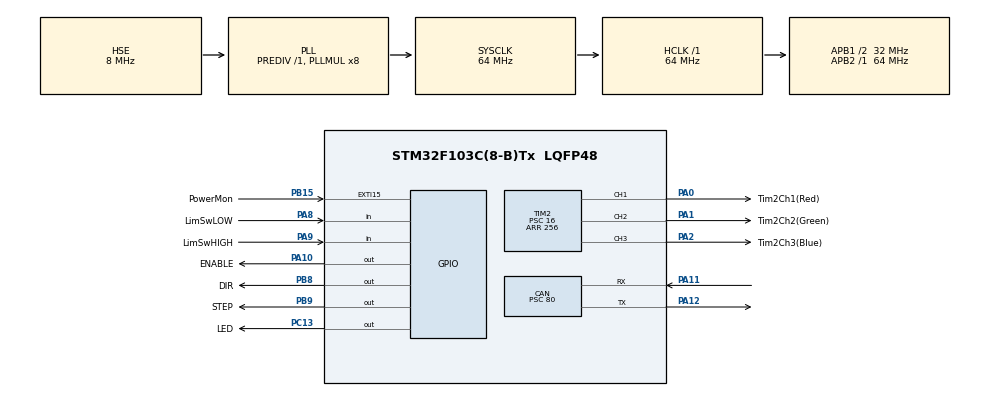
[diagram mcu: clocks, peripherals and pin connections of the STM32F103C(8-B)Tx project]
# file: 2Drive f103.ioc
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CAN.BS1=CAN_BS1_13TQ
CAN.BS2=CAN_BS2_2TQ
CAN.CalculateTimeBit=40000
CAN.CalculateTimeQuantum=2500.0
CAN.Prescaler=80
CAN.SJW=CAN_SJW_2TQ
Mcu.Family=STM32F1
Mcu.Name=STM32F103C(8-B)Tx
Mcu.Package=LQFP48
NVIC.CAN1_RX1_IRQn=true\:0\:0\:false\:false\:true\:true\:true
NVIC.CAN1_SCE_IRQn=true\:0\:0\:false\:false\:true\:true\:true
NVIC.EXTI15_10_IRQn=true\:0\:0\:false\:false\:true\:true\:true
NVIC.PriorityGroup=NVIC_PRIORITYGROUP_4
NVIC.USB_HP_CAN1_TX_IRQn=true\:0\:0\:false\:false\:true\:true\:true
NVIC.USB_LP_CAN1_RX0_IRQn=true\:0\:0\:false\:false\:true\:true\:true
PA0-WKUP.GPIO_Label=Tim2Ch1(Red)
PA0-WKUP.Signal=S_TIM2_CH1_ETR
PA1.GPIO_Label=Tim2Ch2(Green)
PA1.Signal=S_TIM2_CH2
PA10.GPIO_Label=ENABLE
PA10.GPIO_PuPd=GPIO_PULLUP
PA10.Signal=GPIO_Output
PA11.Mode=Master
PA11.Signal=CAN_RX
PA12.Mode=Master
PA12.Signal=CAN_TX
PA13.Mode=Serial_Wire
PA13.Signal=SYS_JTMS-SWDIO
PA14.Mode=Serial_Wire
PA14.Signal=SYS_JTCK-SWCLK
PA2.GPIO_Label=Tim2Ch3(Blue)
PA2.Signal=S_TIM2_CH3
PA8.GPIO_Label=LimSwLOW
PA8.GPIO_PuPd=GPIO_PULLDOWN
PA8.Signal=GPIO_Input
PA9.GPIO_Label=LimSwHIGH
PA9.GPIO_PuPd=GPIO_PULLDOWN
PA9.Signal=GPIO_Input
PB15.GPIO_Label=PowerMon
PB15.GPIO_ModeDefaultEXTI=GPIO_MODE_IT_FALLING
PB15.GPIO_PuPd=GPIO_PULLDOWN
PB15.Signal=GPXTI15
PB8.GPIO_Label=DIR
PB8.GPIO_PuPd=GPIO_PULLDOWN
PB8.Signal=GPIO_Output
PB9.GPIO_Label=STEP
PB9.GPIO_PuPd=GPIO_PULLDOWN
PB9.Signal=GPIO_Output
PC13-TAMPER-RTC.GPIO_Label=LED
PC13-TAMPER-RTC.GPIO_PuPd=GPIO_PULLDOWN
PC13-TAMPER-RTC.Signal=GPIO_Output
PD0-OSC_IN.Mode=HSE-External-Oscillator
PD0-OSC_IN.Signal=RCC_OSC_IN
PD1-OSC_OUT.Mode=HSE-External-Oscillator
PD1-OSC_OUT.Signal=RCC_OSC_OUT
ProjectManager.HeapSize=0x200
ProjectManager.StackSize=0x400
ProjectManager.TargetToolchain=MDK-ARM V5.27
RCC.AHBFreq_Value=64000000
RCC.APB1CLKDivider=RCC_HCLK_DIV2
RCC.APB1Freq_Value=32000000
RCC.APB1TimFreq_Value=64000000
RCC.APB2Freq_Value=64000000
RCC.APB2TimFreq_Value=64000000
RCC.HCLKFreq_Value=64000000
RCC.PLLMUL=RCC_PLL_MUL8
RCC.PLLSourceVirtual=RCC_PLLSOURCE_HSE
RCC.SYSCLKFreq_VALUE=64000000
RCC.SYSCLKSource=RCC_SYSCLKSOURCE_PLLCLK
RCC.USBFreq_Value=64000000
SH.S_TIM2_CH1_ETR.0=TIM2_CH1,PWM Generation1 CH1
SH.S_TIM2_CH2.0=TIM2_CH2,PWM Generation2 CH2
SH.S_TIM2_CH3.0=TIM2_CH3,PWM Generation3 CH3
TIM2.Channel-PWM\ Generation1\ CH1=TIM_CHANNEL_1
TIM2.Channel-PWM\ Generation2\ CH2=TIM_CHANNEL_2
TIM2.Channel-PWM\ Generation3\ CH3=TIM_CHANNEL_3
TIM2.Period=256
TIM2.Prescaler=16
VP_TIM2_VS_ClockSourceINT.Mode=Internal
board=custom

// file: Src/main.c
/* USER CODE BEGIN Header */
/**
  ******************************************************************************
  * @file           : main.c
  * @brief          : Main program body
  ******************************************************************************
  * @attention
  *
  * <h2><center>&copy; Copyright (c) 2020 STMicroelectronics.
  * All rights reserved.</center></h2>
  *
  * This software component is licensed by ST under BSD 3-Clause license,
  * the "License"; You may not use this file except in compliance with the
  * License. You may obtain a copy of the License at:
  *                        opensource.org/licenses/BSD-3-Clause
  *
  ******************************************************************************
  */
/* USER CODE END Header */

#include "main.h"

CAN_HandleTypeDef hcan;

TIM_HandleTypeDef htim2;

void SystemClock_Config(void);
static void MX_GPIO_Init(void);
static void MX_CAN_Init(void);
static void MX_TIM2_Init(void);
/* USER CODE BEGIN PFP */

CAN_TxHeaderTypeDef   TxHeader;
CAN_RxHeaderTypeDef   RxHeader;

uint32_t              TxMailbox;
uint8_t        		  	CANRxData[8];
volatile uint16_t 							RxFlags = 0;
uint32_t							MaxGoal =0;

// variables for MotorControl
volatile 	uint32_t Goal = 0; 								// Goal of cart position
	uint32_t Position = 0;   					// position whaere cart located
volatile 	uint32_t MinDelay = 30000;  			// Max Speed (delay between toggles step pin than speed is MAX)
	uint32_t StepDelay = 0;						// delay between steps
volatile 	uint16_t Boost = 10000; 						// 1 = MAX boost 65535 = MIN boost
	uint32_t MinSpeed = 600;	  			// move graphic boost function to left side. Whan value == 0 boost function do not move
	GPIO_PinState  MoveDown = GPIO_PIN_RESET, MoveUp = GPIO_PIN_SET; // Direction for moving Up or Down

/* USER CODE END PFP */

int main(void)
{
  /* USER CODE BEGIN 1 */
	SCB_DEMCR |= CoreDebug_DEMCR_TRCENA_Msk;// ????????? ???????????? DWT
  DWT_CONTROL|= DWT_CTRL_CYCCNTENA_Msk; // ???????? ???????
  DWT_CYCCNT = 0;// ???????? ???????
  /* USER CODE END 1 */

  /* MCU Configuration--------------------------------------------------------*/

  /* Reset of all peripherals, Initializes the Flash interface and the Systick. */
  HAL_Init();

  /* Configure the system clock */
  SystemClock_Config();

  /* Initialize all configured peripherals */
  MX_GPIO_Init();
  MX_CAN_Init();
  MX_TIM2_Init();
  /* USER CODE BEGIN 2 */
//	HAL_GPIO_WritePin(ENABLE_GPIO_Port, ENABLE_Pin, GPIO_PIN_SET); // turn Off drivers
  GPIOC->ODR = 0 << 13;
	HAL_Delay(1000);
	GPIOC->ODR = 1 << 13;

  //section for LED
	HAL_TIM_PWM_Start(&htim2,TIM_CHANNEL_1);
	HAL_TIM_PWM_Start(&htim2,TIM_CHANNEL_2);
	HAL_TIM_PWM_Start(&htim2,TIM_CHANNEL_3);

	TIM2->CCR1 = 255;
	TIM2->CCR2 = 255;
	TIM2->CCR3 = 255;

  /* USER CODE END 2 */

  /* Infinite loop */
  /* USER CODE BEGIN WHILE */
  while (1)
  {
		RxAnswerFunction();
		MotorControl();
		SpeedColibration();
		CalobrationDistance ();
		//LimSwChack ();

    /* USER CODE END WHILE */

    /* USER CODE BEGIN 3 */

			// FUNCTION EMERGENCY STOP /////////////////////////////////

			if ( (RxFlags & (uint16_t)1<<7) == (uint16_t)1<<7)
			{
			//--------------------------------
			// HERE MUST BE writing in FLAH

			while(1)
				{
					HAL_Delay(100);
					HAL_GPIO_TogglePin(LED_GPIO_Port,LED_Pin);
				}
			}
  }
  /* USER CODE END 3 */
}

void SystemClock_Config(void)
{
  RCC_OscInitTypeDef RCC_OscInitStruct = {0};
  RCC_ClkInitTypeDef RCC_ClkInitStruct = {0};

  /** Initializes the CPU, AHB and APB busses clocks
  */
  RCC_OscInitStruct.OscillatorType = RCC_OSCILLATORTYPE_HSE;
  RCC_OscInitStruct.HSEState = RCC_HSE_ON;
  RCC_OscInitStruct.HSEPredivValue = RCC_HSE_PREDIV_DIV1;
  RCC_OscInitStruct.HSIState = RCC_HSI_ON;
  RCC_OscInitStruct.PLL.PLLState = RCC_PLL_ON;
  RCC_OscInitStruct.PLL.PLLSource = RCC_PLLSOURCE_HSE;
  RCC_OscInitStruct.PLL.PLLMUL = RCC_PLL_MUL8;
  if (HAL_RCC_OscConfig(&RCC_OscInitStruct) != HAL_OK)
  {
    Error_Handler();
  }
  /** Initializes the CPU, AHB and APB busses clocks
  */
  RCC_ClkInitStruct.ClockType = RCC_CLOCKTYPE_HCLK|RCC_CLOCKTYPE_SYSCLK
                              |RCC_CLOCKTYPE_PCLK1|RCC_CLOCKTYPE_PCLK2;
  RCC_ClkInitStruct.SYSCLKSource = RCC_SYSCLKSOURCE_PLLCLK;
  RCC_ClkInitStruct.AHBCLKDivider = RCC_SYSCLK_DIV1;
  RCC_ClkInitStruct.APB1CLKDivider = RCC_HCLK_DIV2;
  RCC_ClkInitStruct.APB2CLKDivider = RCC_HCLK_DIV1;

  if (HAL_RCC_ClockConfig(&RCC_ClkInitStruct, FLASH_LATENCY_2) != HAL_OK)
  {
    Error_Handler();
  }
}

static void MX_CAN_Init(void)
{

  hcan.Instance = CAN1;
  hcan.Init.Prescaler = 80;
  hcan.Init.Mode = CAN_MODE_NORMAL;
  hcan.Init.SyncJumpWidth = CAN_SJW_2TQ;
  hcan.Init.TimeSeg1 = CAN_BS1_13TQ;
  hcan.Init.TimeSeg2 = CAN_BS2_2TQ;
  hcan.Init.TimeTriggeredMode = DISABLE;
  hcan.Init.AutoBusOff = DISABLE;
  hcan.Init.AutoWakeUp = DISABLE;
  hcan.Init.AutoRetransmission = DISABLE;
  hcan.Init.ReceiveFifoLocked = DISABLE;
  hcan.Init.TransmitFifoPriority = DISABLE;
  if (HAL_CAN_Init(&hcan) != HAL_OK)
  {
    Error_Handler();
  }
  /* USER CODE BEGIN CAN_Init 2 */
CAN_FilterTypeDef  sFilterConfig;

  sFilterConfig.FilterBank = 0;
  sFilterConfig.FilterMode = CAN_FILTERMODE_IDMASK;
  sFilterConfig.FilterScale = CAN_FILTERSCALE_16BIT;
  sFilterConfig.FilterIdHigh = 0x0200  << 5;
  sFilterConfig.FilterIdLow = 0x0000;
  sFilterConfig.FilterMaskIdHigh = 0x0F00 << 5;
  sFilterConfig.FilterMaskIdLow = 0xFFFF;
  sFilterConfig.FilterFIFOAssignment = CAN_RX_FIFO0;
  sFilterConfig.FilterActivation = ENABLE;
  sFilterConfig.SlaveStartFilterBank = 14;

  if (HAL_CAN_ConfigFilter(&hcan, &sFilterConfig) != HAL_OK)
  {
    /* Filter configuration Error */
    Error_Handler();
  }

  /* Start the CAN peripheral */
  if (HAL_CAN_Start(&hcan) != HAL_OK)
  {
    /* Start Error */
    Error_Handler();
  }

  /* Activate CAN RX notification */
  if (HAL_CAN_ActivateNotification(&hcan, CAN_IT_RX_FIFO0_MSG_PENDING) != HAL_OK)
  {
    /* Notification Error */
    Error_Handler();
  }

  /* Configure Transmission process */
	TxHeader.StdId = 0x0700;
  TxHeader.RTR = CAN_RTR_DATA;
  TxHeader.IDE = CAN_ID_STD;
  TxHeader.DLC = 8;
  TxHeader.TransmitGlobalTime = DISABLE;
  /* USER CODE END CAN_Init 2 */

}

static void MX_TIM2_Init(void)
{

  TIM_ClockConfigTypeDef sClockSourceConfig = {0};
  TIM_MasterConfigTypeDef sMasterConfig = {0};
  TIM_OC_InitTypeDef sConfigOC = {0};

  htim2.Instance = TIM2;
  htim2.Init.Prescaler = 16;
  htim2.Init.CounterMode = TIM_COUNTERMODE_UP;
  htim2.Init.Period = 256;
  htim2.Init.ClockDivision = TIM_CLOCKDIVISION_DIV1;
  htim2.Init.AutoReloadPreload = TIM_AUTORELOAD_PRELOAD_DISABLE;
  if (HAL_TIM_Base_Init(&htim2) != HAL_OK)
  {
    Error_Handler();
  }
  sClockSourceConfig.ClockSource = TIM_CLOCKSOURCE_INTERNAL;
  if (HAL_TIM_ConfigClockSource(&htim2, &sClockSourceConfig) != HAL_OK)
  {
    Error_Handler();
  }
  if (HAL_TIM_PWM_Init(&htim2) != HAL_OK)
  {
    Error_Handler();
  }
  sMasterConfig.MasterOutputTrigger = TIM_TRGO_RESET;
  sMasterConfig.MasterSlaveMode = TIM_MASTERSLAVEMODE_DISABLE;
  if (HAL_TIMEx_MasterConfigSynchronization(&htim2, &sMasterConfig) != HAL_OK)
  {
    Error_Handler();
  }
  sConfigOC.OCMode = TIM_OCMODE_PWM1;
  sConfigOC.Pulse = 0;
  sConfigOC.OCPolarity = TIM_OCPOLARITY_HIGH;
  sConfigOC.OCFastMode = TIM_OCFAST_DISABLE;
  if (HAL_TIM_PWM_ConfigChannel(&htim2, &sConfigOC, TIM_CHANNEL_1) != HAL_OK)
  {
    Error_Handler();
  }
  if (HAL_TIM_PWM_ConfigChannel(&htim2, &sConfigOC, TIM_CHANNEL_2) != HAL_OK)
  {
    Error_Handler();
  }
  if (HAL_TIM_PWM_ConfigChannel(&htim2, &sConfigOC, TIM_CHANNEL_3) != HAL_OK)
  {
    Error_Handler();
  }
  HAL_TIM_MspPostInit(&htim2);

}

static void MX_GPIO_Init(void)
{
  GPIO_InitTypeDef GPIO_InitStruct = {0};

  /* GPIO Ports Clock Enable */
  __HAL_RCC_GPIOC_CLK_ENABLE();
  __HAL_RCC_GPIOD_CLK_ENABLE();
  __HAL_RCC_GPIOA_CLK_ENABLE();
  __HAL_RCC_GPIOB_CLK_ENABLE();

  /*Configure GPIO pin Output Level */
  HAL_GPIO_WritePin(LED_GPIO_Port, LED_Pin, GPIO_PIN_RESET);

  /*Configure GPIO pin Output Level */
  HAL_GPIO_WritePin(ENABLE_GPIO_Port, ENABLE_Pin, GPIO_PIN_RESET);

  /*Configure GPIO pin Output Level */
  HAL_GPIO_WritePin(GPIOB, DIR_Pin|STEP_Pin, GPIO_PIN_RESET);

  /*Configure GPIO pin : LED_Pin */
  GPIO_InitStruct.Pin = LED_Pin;
  GPIO_InitStruct.Mode = GPIO_MODE_OUTPUT_PP;
  GPIO_InitStruct.Pull = GPIO_PULLDOWN;
  GPIO_InitStruct.Speed = GPIO_SPEED_FREQ_LOW;
  HAL_GPIO_Init(LED_GPIO_Port, &GPIO_InitStruct);

  /*Configure GPIO pin : PowerMon_Pin */
  GPIO_InitStruct.Pin = PowerMon_Pin;
  GPIO_InitStruct.Mode = GPIO_MODE_IT_FALLING;
  GPIO_InitStruct.Pull = GPIO_PULLDOWN;
  HAL_GPIO_Init(PowerMon_GPIO_Port, &GPIO_InitStruct);

  /*Configure GPIO pins : LimSwLOW_Pin LimSwHIGH_Pin */
  GPIO_InitStruct.Pin = LimSwLOW_Pin|LimSwHIGH_Pin;
  GPIO_InitStruct.Mode = GPIO_MODE_INPUT;
  GPIO_InitStruct.Pull = GPIO_PULLDOWN;
  HAL_GPIO_Init(GPIOA, &GPIO_InitStruct);

  /*Configure GPIO pin : ENABLE_Pin */
  GPIO_InitStruct.Pin = ENABLE_Pin;
  GPIO_InitStruct.Mode = GPIO_MODE_OUTPUT_PP;
  GPIO_InitStruct.Pull = GPIO_PULLUP;
  GPIO_InitStruct.Speed = GPIO_SPEED_FREQ_LOW;
  HAL_GPIO_Init(ENABLE_GPIO_Port, &GPIO_InitStruct);

  /*Configure GPIO pins : DIR_Pin STEP_Pin */
  GPIO_InitStruct.Pin = DIR_Pin|STEP_Pin;
  GPIO_InitStruct.Mode = GPIO_MODE_OUTPUT_PP;
  GPIO_InitStruct.Pull = GPIO_PULLDOWN;
  GPIO_InitStruct.Speed = GPIO_SPEED_FREQ_LOW;
  HAL_GPIO_Init(GPIOB, &GPIO_InitStruct);

  /* EXTI interrupt init*/
  HAL_NVIC_SetPriority(EXTI15_10_IRQn, 0, 0);
  HAL_NVIC_EnableIRQ(EXTI15_10_IRQn);

}

/* USER CODE BEGIN 4 */
void HAL_CAN_RxFifo0MsgPendingCallback(CAN_HandleTypeDef *hcan)
{
     /* Get RX message */
  HAL_CAN_GetRxMessage(hcan, CAN_RX_FIFO0, &RxHeader, CANRxData);

	switch (RxHeader.StdId & 0x00FF)
	{
		case 1:
			// calibrate distanse range

			RxFlags |= 1<<1;
		break;
		case 2:
			// calibrate max speed

			RxFlags |= 1<<2;
		break;
		case 3:
			//new Goal of position 'N'

			RxFlags |= 1<<3;
			Goal =( ((uint32_t) CANRxData[0]<<24) | ((uint32_t) CANRxData[1]<<16) | ((uint32_t) CANRxData[2]<<8) | CANRxData[3]);
//			if (Goal==Position)
//				{
//				CanTxMsg
//				}
		break;
		case 4:
			//request cart position (answer will be "Position" variable)

			RxFlags |= 1<<4;
		break;
		case 5:
			// RGB light settings. If R,G,B == 0,0,0 light is off.

			TIM2->CCR1 = CANRxData[0];  // Red light
			TIM2->CCR2 = CANRxData[1];  // Green light
			TIM3->CCR3 = CANRxData[2];  // Blue light
		break;
		case 6:
			// RESET MCU!

			NVIC_SystemReset();
		break;
		case 7:
			// EMERGENCY STOP!

			RxFlags |= 1<<7;
		break;
		case 8:
			// Manual set MinDelay (max speed)

			MinDelay = ( ((uint32_t) CANRxData[0]<<24) | ((uint32_t) CANRxData[1]<<16) | ((uint32_t) CANRxData[2]<<8) | CANRxData[3]);
		break;
		case 9:
			// Manual set Boost

			Boost = ( ((uint32_t) CANRxData[0]<<8) | ((uint32_t) CANRxData[1]) );
		break;
	}

	/*
   Display LEDx
  if ((RxHeader.StdId == 0x0020) && (RxHeader.IDE == CAN_ID_STD) && (RxHeader.DLC == 8))
  {
		 GPIOC->ODR = DATAS.TransmitParams.Code << 13;
  }
	*/
}
void HAL_CAN_TxMailbox0CompleteCallback (CAN_HandleTypeDef *hcan)
{
	 GPIOC->ODR = 0 << 13;
	GPIOC->ODR = 1 << 13;

}

char MotorControl (void)
{
	/* This function for work use graphic (1/x*x)

	Global variables for work this function:

	uint32_t Goal = 0; 								// Goal of cart position
	uint32_t Position = 0;   					// position whaere cart located
	uint32_t MinDelay = 50000;  			// Max Speed (delay between toggles step pin than speed is MAX)
	uint32_t StepDelay = 0;						// delay between steps
	uint16_t Boost = 8000; 						// 1 = MAX boost 65535 = MIN boost
	uint32_t MinSpeed = 600;	  			// move graphic boost function to left side. Whan value == 0 boost function do not move
	uint8_t MoveDown = 0, MoveUp =0; 	// Direction for moving Up or Down
	*/

		static uint32_t Distance = 0;		// nomber of steps between Location and Goal
		static uint32_t Step = 0;				// nomber of step
		static uint8_t FlagStep = 0;

	if (Position != Goal)
	{
		HAL_GPIO_WritePin(ENABLE_GPIO_Port, ENABLE_Pin, GPIO_PIN_RESET); // turnon driver

		// Direction computing
		if(Goal < Position)
			{//movimmg down
				Distance = Position - Goal;
				HAL_GPIO_WritePin(DIR_GPIO_Port, DIR_Pin, MoveDown);
			}
		else
			{// moving up
				Distance = Goal - Position;
				HAL_GPIO_WritePin(DIR_GPIO_Port, DIR_Pin, MoveUp);
			}

		// pulce fore drive	control
		if(DWT_CYCCNT > 1000 && FlagStep == 1) // turn off Step Pin. Make pulse long ~ 20mks
				{
					HAL_GPIO_WritePin(STEP_GPIO_Port, STEP_Pin, GPIO_PIN_RESET);
					FlagStep = 0;
				}

		// Boost
		if (Step < Distance/2 && StepDelay < DWT_CYCCNT)
			{
				HAL_GPIO_WritePin(STEP_GPIO_Port, STEP_Pin, GPIO_PIN_SET);
				DWT_CYCCNT = 0;	//counter of tacts = 0
				FlagStep = 1;
				Step++;
				StepDelay = ((MinDelay*Boost)/(((Step)*(Step))+MinSpeed))+MinDelay; // computing delay
			}

		// SLowDOwn (inverted boot)
		if (Step >= Distance/2 && StepDelay < DWT_CYCCNT)
			{
				HAL_GPIO_WritePin(STEP_GPIO_Port, STEP_Pin, GPIO_PIN_SET);
				DWT_CYCCNT = 0;
				FlagStep = 1;
				Step++;
				StepDelay = ((MinDelay*Boost)/(((Distance-Step)*(Distance-Step))+MinSpeed))+MinDelay;
			}

			// if we arrived to destenation
	if (Step == Distance)
			{
					Position = Goal;
					Distance=0;
					Step = 0;
					FlagStep = 0;
					StepDelay = 0;
				//	HAL_GPIO_WritePin(ENABLE_GPIO_Port, ENABLE_Pin, GPIO_PIN_SET);// turnoff driver

					return 0; // Function Finish Work
			}
			return 1;	// Function in Work
		}
	return 0; // Function redy to Work
}

void RxAnswerFunction(void)
{
	if ( ((RxFlags & 1<<3) == (uint16_t)1<<3) && (Goal == Position) )
		{// send message if Goal is reached
				uint8_t TxData[4] = {0};

				TxData[0] =	Position >> 24;
				TxData[1] =	Position >> 16;
				TxData[2] =	Position >> 8;
				TxData[3] =	Position;

				TxHeader.StdId = 0x0703;
				TxHeader.RTR = CAN_RTR_DATA;
				TxHeader.DLC = 4;

				//send msg and reset flg
				if (HAL_CAN_AddTxMessage(&hcan, &TxHeader, TxData, &TxMailbox) == HAL_OK) RxFlags &= ~((uint16_t)1<<3);

		}
	if ( (RxFlags & 1<<4) == (uint16_t)1<<4)
		{// answer on position reqest
				uint8_t TxData[4] = {0};

				TxData[0] =	Position >> 24;
				TxData[1] =	Position >> 16;
				TxData[2] =	Position >> 8;
				TxData[3] =	Position ;

				TxHeader.StdId = 0x0703;
				TxHeader.RTR = CAN_RTR_DATA;
				TxHeader.DLC = 4;

				//send msg and reset flg
				if (HAL_CAN_AddTxMessage(&hcan, &TxHeader, TxData, &TxMailbox) == HAL_OK) RxFlags &= ~((uint16_t)1<<4);
		}

}
// This function colibrate max speed and
// check state of Limit Switchs (if state is set :EMERGENCY STOP!)
void SpeedColibration (void)
{
		//colibrae max speed

}
/*			//	HAL_Delay(100);
			MinDelay = 30000;
			//static uint8_t iterations =0;
			Goal = 0;
			if (Position == 0)
				{
					MinDelay -= 4000;
					//iterations ++;
					Goal = MaxGoal;
				}
			if ( (Position == MaxGoal) && (Goal == Position) )
				{
					uint8_t counter =0;
					HAL_GPIO_WritePin(ENABLE_GPIO_Port, ENABLE_Pin, GPIO_PIN_RESET);//turn ON Driver
					HAL_GPIO_WritePin(DIR_GPIO_Port,DIR_Pin, MoveUp); // derection for Move UP

					while ( (HAL_GPIO_ReadPin(LimSwHIGH_GPIO_Port, LimSwHIGH_Pin) != 1 )&& (counter <= 200) )
						{
							HAL_GPIO_WritePin(STEP_GPIO_Port,STEP_Pin, GPIO_PIN_SET);
							HAL_Delay(1);
							HAL_GPIO_WritePin(STEP_GPIO_Port,STEP_Pin, GPIO_PIN_RESET);
							HAL_Delay(1);
							counter ++;
						}
						if( (HAL_GPIO_ReadPin(LimSwHIGH_GPIO_Port, LimSwHIGH_Pin) != 1 )&&(counter>200) )
						{// max speed determinate
							HAL_GPIO_WritePin(DIR_GPIO_Port,DIR_Pin, MoveDown); // derection for Move DOWN
							while  (HAL_GPIO_ReadPin(LimSwLOW_GPIO_Port, LimSwLOW_Pin) != 1 )
								{
									HAL_GPIO_WritePin(STEP_GPIO_Port,STEP_Pin, GPIO_PIN_SET);
									HAL_Delay(1);
									HAL_GPIO_WritePin(STEP_GPIO_Port,STEP_Pin, GPIO_PIN_RESET);
									HAL_Delay(1);
								}
							HAL_GPIO_WritePin(DIR_GPIO_Port,DIR_Pin, MoveUp); // derection for Move UP
							while  (HAL_GPIO_ReadPin(LimSwLOW_GPIO_Port, LimSwLOW_Pin) == 1 )
								{
									HAL_GPIO_WritePin(STEP_GPIO_Port,STEP_Pin, GPIO_PIN_SET);
									HAL_Delay(1);
									HAL_GPIO_WritePin(STEP_GPIO_Port,STEP_Pin, GPIO_PIN_RESET);
									HAL_Delay(1);
								}
								for (char i=0;i<=20;i++)
								{
									HAL_GPIO_WritePin(STEP_GPIO_Port,STEP_Pin, GPIO_PIN_SET);
									HAL_Delay(1);
									HAL_GPIO_WritePin(STEP_GPIO_Port,STEP_Pin, GPIO_PIN_RESET);
									HAL_Delay(1);
								}

							MinDelay += 5000;
							RxFlags &= ~(1<<2); // reset flag
							CanTxMsg(MinDelay,0x0702,4);
							HAL_GPIO_WritePin(ENABLE_GPIO_Port, ENABLE_Pin, GPIO_PIN_SET);//turn OFF Driver
							Goal = 0;
							Position = 0;
							return 0;//ok
						}
						if(HAL_GPIO_ReadPin(LimSwHIGH_GPIO_Port, LimSwHIGH_Pin) == 1 )
						{
							HAL_GPIO_WritePin(ENABLE_GPIO_Port, ENABLE_Pin, GPIO_PIN_RESET);//turn ON Driver
							HAL_GPIO_WritePin(DIR_GPIO_Port,DIR_Pin, MoveDown); // derection for Move UP
							for(char i = counter; i==0; i--)
								{
									HAL_GPIO_WritePin(STEP_GPIO_Port,STEP_Pin, GPIO_PIN_SET);
									HAL_Delay(1);
									HAL_GPIO_WritePin(STEP_GPIO_Port,STEP_Pin, GPIO_PIN_RESET);
									HAL_Delay(1);
								}
								HAL_GPIO_WritePin(ENABLE_GPIO_Port, ENABLE_Pin, GPIO_PIN_SET);//turn OFF Driver
							Goal = 0;
						}

				}

		}
return 0;
}

	while ((RxFlags & 1<<2) == (uint16_t)1<<2)
	{

		//set new min delay
		MinDelay = 30000;
		// go to max positiom
		Goal = MaxGoal;
		if (Position == Goal)
		{	// go to max Position + 3 Steps for push on High Limit Switch
			HAL_GPIO_WritePin(ENABLE_GPIO_Port, ENABLE_Pin, GPIO_PIN_RESET);//turn ON Driver
			HAL_GPIO_WritePin(DIR_GPIO_Port,DIR_Pin, MoveUp); // derection for Move UP
			for (char i=0; i<10; i++)
			{
						HAL_GPIO_WritePin(STEP_GPIO_Port,STEP_Pin, GPIO_PIN_SET);
						HAL_Delay(1);
						HAL_GPIO_WritePin(STEP_GPIO_Port,STEP_Pin, GPIO_PIN_RESET);
						HAL_Delay(1);
			}
			HAL_GPIO_WritePin(ENABLE_GPIO_Port, ENABLE_Pin, GPIO_PIN_SET);//turn OFF Driver
		}

		if(HAL_GPIO_ReadPin(LimSwHIGH_GPIO_Port,LimSwHIGH_Pin) == 1 )
		{
			Goal = 0;
			//this is value of decrement MinDelay if max speed not detepminate
			//! \/ \/ \/ \/ \/ !!!!need calibrate vaue "2000"!!!!
			MinDelay -= 2000;
			if (MinDelay < 5000)
				{ //max speed determinated
					MinDelay = 8000;
					RxFlags &= ~(1<<2); // reset flag

							// set message: MaxSpeed determinated
							uint8_t TxData[4] = {0};
							TxData[0] =	MinDelay >> 24;
							TxData[1] =	MinDelay >> 16;
							TxData[2] =	MinDelay >> 8;
							TxData[3] =	MinDelay ;
							TxHeader.StdId = 0x0702;
							TxHeader.RTR = CAN_RTR_DATA;
							TxHeader.DLC = 4;
							//send msg
							HAL_CAN_AddTxMessage(&hcan, &TxHeader, TxData, &TxMailbox);
				}

		}
		else
		{	// slowly move down and send value of max peed (MinDelay)
			HAL_GPIO_WritePin(ENABLE_GPIO_Port, ENABLE_Pin, GPIO_PIN_RESET);//turn ON Driver
			HAL_GPIO_WritePin(DIR_GPIO_Port,DIR_Pin, MoveDown);
			while(HAL_GPIO_ReadPin(LimSwLOW_GPIO_Port,LimSwLOW_Pin) != 1)
			{
						HAL_GPIO_WritePin(STEP_GPIO_Port,STEP_Pin, GPIO_PIN_SET);
						HAL_Delay(1);
						HAL_GPIO_WritePin(STEP_GPIO_Port,STEP_Pin, GPIO_PIN_RESET);
						HAL_Delay(1);
			}
			HAL_GPIO_WritePin(ENABLE_GPIO_Port, ENABLE_Pin, GPIO_PIN_SET);//turn OFF Driver
			Goal = 0;
			Position = 0;
			// this is increment value MinDelay if was lost steps
			//! \/ \/ \/ \/ \/ !!!!need calibrate vaue "4000", "25000", "6000"!!!!
			MinDelay += 4000;// determinate max speed (MinDelay)
				if (MinDelay > 25000) MinDelay += 6000;
			RxFlags &= ~(1<<2);//reset flag

					// set message: MaxSpeed determinated
					uint8_t TxData[4] = {0};
					TxData[0] =	MinDelay >> 24;
					TxData[1] =	MinDelay >> 16;
					TxData[2] =	MinDelay >> 8;
					TxData[3] =	MinDelay ;
					TxHeader.StdId = 0x0702;
					TxHeader.RTR = CAN_RTR_DATA;
					TxHeader.DLC = 4;
					//send msg
					HAL_CAN_AddTxMessage(&hcan, &TxHeader, TxData, &TxMailbox);
		}

		// if High Limit Switch is pushed we need Move Down 6 seps
		if (HAL_GPIO_ReadPin(LimSwHIGH_GPIO_Port,LimSwHIGH_Pin) == 1)
		{
			HAL_GPIO_WritePin(ENABLE_GPIO_Port, ENABLE_Pin, GPIO_PIN_RESET);//turn ON Driver
			HAL_GPIO_WritePin(DIR_GPIO_Port,DIR_Pin, MoveDown);
			for (char i=0; i<6; i++)
			{
						HAL_GPIO_WritePin(STEP_GPIO_Port,STEP_Pin, GPIO_PIN_SET);
						HAL_Delay(1);
						HAL_GPIO_WritePin(STEP_GPIO_Port,STEP_Pin, GPIO_PIN_RESET);
						HAL_Delay(1);
			}
			HAL_GPIO_WritePin(ENABLE_GPIO_Port, ENABLE_Pin, GPIO_PIN_SET);//turn OFF Driver
			Goal = MaxGoal - 3;
			Position = MaxGoal - 3;
		}
	}
}
*/

void LimSwChack (void)
{
	// check state of Limit Swiches
	if (HAL_GPIO_ReadPin(LimSwHIGH_GPIO_Port, LimSwHIGH_Pin) == 1)
		{
			  // send to 3rd block "ERROR lost Zero position!"
				TxHeader.StdId = 0x0704;
				TxHeader.RTR = CAN_RTR_REMOTE;
				TxHeader.DLC = 0;

				//send msg and reset flg
				HAL_CAN_AddTxMessage(&hcan, &TxHeader, 0, &TxMailbox);

				RxFlags |= 1<<7; // EMERGENCY STOP!!!
		}
	if ( (HAL_GPIO_ReadPin (LimSwLOW_GPIO_Port, LimSwLOW_Pin) == 1)  )
		{
				// send to 3rd block "ERROR lost Zero position!"
				TxHeader.StdId = 0x0704;
				TxHeader.RTR = CAN_RTR_REMOTE;
				TxHeader.DLC = 0;

				//send msg and reset flg
				HAL_CAN_AddTxMessage(&hcan, &TxHeader, 0, &TxMailbox);

				RxFlags |= 1<<7; // EMERGENCY STOP!!!
		}
}

uint8_t CalobrationDistance (void)
{
	if ( (RxFlags & 1<<1) == (uint16_t)1<<1)
			{	// Calibration distance range

				uint32_t Counter = 0;
				uint32_t errorCounter =0;
				HAL_GPIO_WritePin(ENABLE_GPIO_Port, ENABLE_Pin, GPIO_PIN_RESET);	// turn on Driver
				HAL_GPIO_WritePin(DIR_GPIO_Port,DIR_Pin, GPIO_PIN_RESET);					// select DIR

					while ( ((HAL_GPIO_ReadPin(LimSwHIGH_GPIO_Port, LimSwHIGH_Pin) != GPIO_PIN_SET) && \
									 (HAL_GPIO_ReadPin(LimSwLOW_GPIO_Port,  LimSwLOW_Pin)  != GPIO_PIN_SET)) && \
									 (errorCounter < 0x0002FFFF) )
					 // stepping while Limit Switch will not pushed
					 //	For determinate low position of cart
					{
						HAL_GPIO_WritePin(STEP_GPIO_Port,STEP_Pin, GPIO_PIN_SET);
						HAL_Delay(1);
						HAL_GPIO_WritePin(STEP_GPIO_Port,STEP_Pin, GPIO_PIN_RESET);
						HAL_Delay(1);
						errorCounter++;
					}
					if (HAL_GPIO_ReadPin(LimSwLOW_GPIO_Port, LimSwLOW_Pin) == GPIO_PIN_SET)
						{// if pushed LOW switch
							MoveDown = GPIO_PIN_RESET;
							MoveUp = GPIO_PIN_SET;
							HAL_GPIO_WritePin(DIR_GPIO_Port,DIR_Pin, MoveUp);
							errorCounter = 0;
							Counter = 0;
							while ( (HAL_GPIO_ReadPin(LimSwHIGH_GPIO_Port, LimSwHIGH_Pin) != GPIO_PIN_SET) && (errorCounter < 0x0002FFFF) )
								{
									errorCounter ++;
									Counter++;
									HAL_GPIO_WritePin(STEP_GPIO_Port,STEP_Pin, GPIO_PIN_SET);
									HAL_Delay(1);
									HAL_GPIO_WritePin(STEP_GPIO_Port,STEP_Pin, GPIO_PIN_RESET);
									HAL_Delay(1);
								}
							if (HAL_GPIO_ReadPin(LimSwHIGH_GPIO_Port, LimSwHIGH_Pin) == GPIO_PIN_SET)
								{
										HAL_GPIO_WritePin(DIR_GPIO_Port,DIR_Pin, MoveDown);
										uint16_t uncount = 0;
										while (HAL_GPIO_ReadPin(LimSwHIGH_GPIO_Port, LimSwHIGH_Pin) == 1)
										{
											uncount++;
											HAL_GPIO_WritePin(STEP_GPIO_Port,STEP_Pin, GPIO_PIN_SET);
											HAL_Delay(1);
											HAL_GPIO_WritePin(STEP_GPIO_Port,STEP_Pin, GPIO_PIN_RESET);
											HAL_Delay(1);
										}
										for (char i =0; i<=40; i++)
										{
											HAL_GPIO_WritePin(STEP_GPIO_Port,STEP_Pin, GPIO_PIN_SET);
											HAL_Delay(1);
											HAL_GPIO_WritePin(STEP_GPIO_Port,STEP_Pin, GPIO_PIN_RESET);
											HAL_Delay(1);
										}
									MaxGoal = Counter - (uncount + 40);
									Position = MaxGoal+20;
									Goal= MaxGoal+20;
									if (CanTxMsg(MaxGoal,0x0701,4)==0) RxFlags &= ~((uint16_t)1<<1);
									//HAL_GPIO_WritePin(ENABLE_GPIO_Port, ENABLE_Pin, GPIO_PIN_SET);	//turn off Driver
									return 0; // OK
								}
						}
/////////////////////////////////////////////////////////////////////////////////
					if (HAL_GPIO_ReadPin(LimSwHIGH_GPIO_Port, LimSwHIGH_Pin) == GPIO_PIN_SET)
						{// if pushed HIGH switch
							MoveDown = GPIO_PIN_SET;
							MoveUp = GPIO_PIN_RESET;
							HAL_GPIO_WritePin(DIR_GPIO_Port,DIR_Pin, MoveDown);
							errorCounter = 0;
							Counter = 0;
							while ( (HAL_GPIO_ReadPin(LimSwLOW_GPIO_Port, LimSwLOW_Pin) != GPIO_PIN_SET) && (errorCounter < 0x0002FFFF) )
								{
									errorCounter ++;
									Counter++;
									HAL_GPIO_WritePin(STEP_GPIO_Port,STEP_Pin, GPIO_PIN_SET);
									HAL_Delay(1);
									HAL_GPIO_WritePin(STEP_GPIO_Port,STEP_Pin, GPIO_PIN_RESET);
									HAL_Delay(1);
								}
							if (HAL_GPIO_ReadPin(LimSwLOW_GPIO_Port, LimSwLOW_Pin) == GPIO_PIN_SET)
								{
										HAL_GPIO_WritePin(DIR_GPIO_Port,DIR_Pin, MoveUp);
										uint16_t uncount = 0;
										while (HAL_GPIO_ReadPin(LimSwLOW_GPIO_Port, LimSwLOW_Pin) == 1)
										{
											uncount++;
											HAL_GPIO_WritePin(STEP_GPIO_Port,STEP_Pin, GPIO_PIN_SET);
											HAL_Delay(1);
											HAL_GPIO_WritePin(STEP_GPIO_Port,STEP_Pin, GPIO_PIN_RESET);
											HAL_Delay(1);
										}
										for (char i = 0; i<20; i++ )
										{
											HAL_GPIO_WritePin(STEP_GPIO_Port,STEP_Pin, GPIO_PIN_SET);
											HAL_Delay(1);
											HAL_GPIO_WritePin(STEP_GPIO_Port,STEP_Pin, GPIO_PIN_RESET);
											HAL_Delay(1);
										}
									MaxGoal = Counter - (uncount + 40);
									Position = 0;
									Goal= 0;
									if (CanTxMsg(MaxGoal,0x0701,4) == 0) RxFlags &= ~((uint16_t)1<<1);
									// HAL_GPIO_WritePin(ENABLE_GPIO_Port, ENABLE_Pin, GPIO_PIN_SET);	//turn off Driver
									return 0; // OK
								}

						}

			}
		return 1;// ERRor
	}

uint8_t CanTxMsg(uint64_t  Data, uint16_t Addres, uint8_t size)
{
			if (Data == 0)
				{
					TxHeader.StdId = Addres;
					TxHeader.RTR = CAN_RTR_REMOTE;
					TxHeader.DLC = 0;

					//send msg and reset flg
					if(HAL_CAN_AddTxMessage(&hcan, &TxHeader, 0, &TxMailbox) == HAL_OK) return 0;
				}

			if (size == 1)
				{
					uint8_t TxData[1];
					TxData[0] = Data;

					TxHeader.StdId = Addres;
					TxHeader.RTR = CAN_RTR_DATA;
					TxHeader.DLC = 1;

					//send msg and reset flg
					if(HAL_CAN_AddTxMessage(&hcan, &TxHeader, TxData, &TxMailbox) == HAL_OK) return 0;
				}
			if (size == 2)
				{
					uint8_t TxData[2];

					TxData[0] = Data>>8;
					TxData[1] = Data;

					TxHeader.StdId = Addres;
					TxHeader.RTR = CAN_RTR_DATA;
					TxHeader.DLC = 2;

					//send msg and reset flg
					if(HAL_CAN_AddTxMessage(&hcan, &TxHeader, TxData, &TxMailbox) == HAL_OK) return 0;
				}
			if (size == 4)
				{
					uint8_t TxData[4];

					TxData[0] = Data>>24;
					TxData[1] = Data>>16;
					TxData[2] = Data>>8;
					TxData[3] = Data;

					TxHeader.StdId = Addres;
					TxHeader.RTR = CAN_RTR_DATA;
					TxHeader.DLC = 4;

					//send msg and reset flg
					if(HAL_CAN_AddTxMessage(&hcan, &TxHeader, TxData, &TxMailbox) == HAL_OK) return 0;
				}
	return 1; // same errors
}
/* USER CODE END 4 */

void Error_Handler(void)
{
}

/************************ (C) COPYRIGHT STMicroelectronics *****END OF FILE****/
